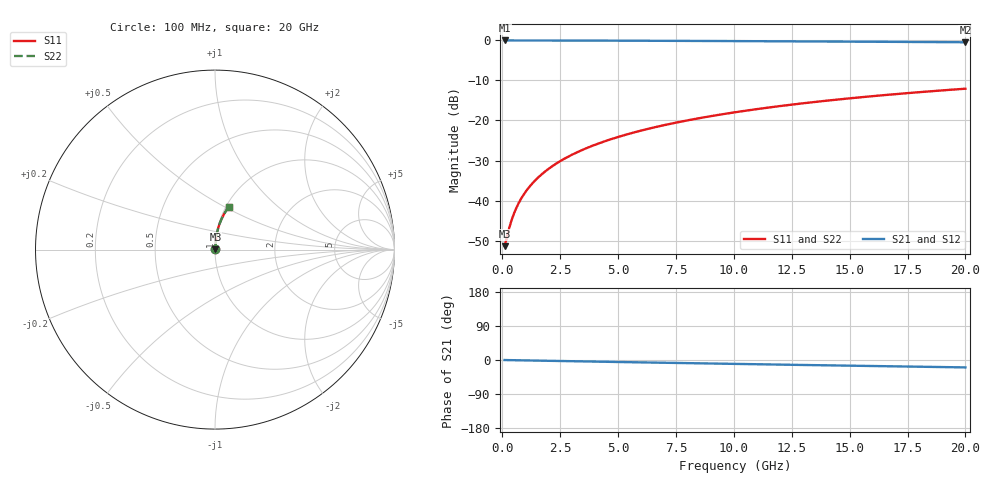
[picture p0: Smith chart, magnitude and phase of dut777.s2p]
! Touchstone file exported from HFSS 2024.1.0
!  File:  C:/UserFiles/LocalFiles/RDL_TSV_Batchsim/temp_RDL_top_777_1779852818.aedt
!  Generated:  11:35:56 AM May 27, 2026
!  Design:  RDL_top
!  Project:  temp_RDL_top_777_1779852818
!  Setup:  Setup1
!  Solution:  Sweep
! Variables:
!  dtsv = 10.80580581um
!  hbump = 3um
!  htsv = 53.6um
!  ldown = 100um
!  lrdl = 216.8um
!  p = 40
!  p1 = 45.41um
!  rhole = 1um
!  t = 450um
!  tdown = 3.915915916um
!  trdl = 2.67um
!  wdown = 15.38538539um
!  wrdl = 13.39um
# GHz S MA R 50.000000
! Terminal data exported
! Port[1] = Box2_T1
! Port[2] = Box2_T2
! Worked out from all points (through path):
!   200 points, 100 MHz to 20 GHz, reference 50 ohm
!   highest |S21| = -0.02 dB at 100 MHz (marker M1); lowest = -0.5 dB at 20 GHz (marker M2)
!   group delay of S21, straight-line fit = 2.71 ps
!   lowest |S11| = -51.4 dB at 100 MHz (marker M3), VSWR 1.01, Z = 50.2 + j0.129 ohm
!   |S11| at or under -10 dB: start of sweep to end of sweep
!   |S22| runs from -51.4 to -12.1 dB; largest |S21 - S12| = 5e-15
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0.1  0.002693 28.6  0.9976 -0.1  0.9976 -0.1  0.002693 28.6
! Gamma 0 0 0 0
! Port Impedance 50 0 50 0
0.3  0.004548 57.6  0.9976 -0.3  0.9976 -0.3  0.004548 57.6
0.4  0.005671 64.0  0.9975 -0.4  0.9975 -0.4  0.005671 64.0
0.5  0.006832 68.2  0.9974 -0.5  0.9974 -0.5  0.006832 68.2
0.6  0.00801 71.1  0.9974 -0.7  0.9974 -0.7  0.00801 71.1
0.7  0.009197 73.3  0.9973 -0.8  0.9973 -0.8  0.009197 73.3
0.9  0.01158 76.3  0.9972 -1.0  0.9972 -1.0  0.01158 76.3
1.2  0.01519 79.1  0.997 -1.3  0.997 -1.3  0.01519 79.1
1.4  0.0176 80.3  0.9968 -1.5  0.9968 -1.5  0.0176 80.3
1.7  0.02125 81.6  0.9966 -1.8  0.9966 -1.8  0.02125 81.6
2.2  0.02735 82.9  0.9961 -2.4  0.9961 -2.4  0.02735 82.9
2.8  0.03473 83.7  0.9954 -3.0  0.9954 -3.0  0.03473 83.7
3.5  0.0434 84.2  0.9945 -3.7  0.9945 -3.7  0.0434 84.2
4.2  0.05214 84.3  0.9934 -4.5  0.9934 -4.5  0.05214 84.3
5  0.06218 84.2  0.992 -5.3  0.992 -5.3  0.06218 84.2
5.9  0.07356 83.9  0.9901 -6.2  0.9901 -6.2  0.07356 83.9
6.8  0.085 83.5  0.9881 -7.1  0.9881 -7.1  0.085 83.5
8.3  0.1042 82.5  0.9844 -8.6  0.9844 -8.6  0.1042 82.5
10.1  0.1272 81.2  0.9796 -10.4  0.9796 -10.4  0.1272 81.2
13.4  0.169 78.3  0.9697 -13.5  0.9697 -13.5  0.169 78.3
16.7  0.2098 75.3  0.9589 -16.6  0.9589 -16.6  0.2098 75.3
20  0.2492 72.2  0.9471 -19.6  0.9471 -19.6  0.2492 72.2
